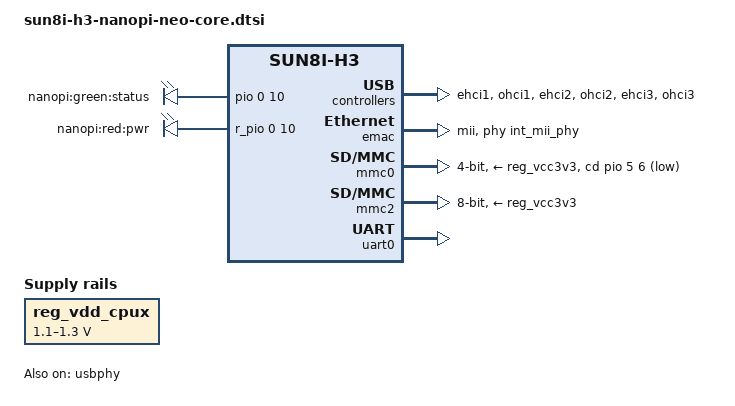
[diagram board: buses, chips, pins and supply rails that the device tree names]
/*
 * Copyright (C) 2018 Mans Rullgard <mans@mansr.com>
 *
 * This file is dual-licensed: you can use it either under the terms
 * of the GPL or the X11 license, at your option. Note that this dual
 * licensing only applies to this file, and not this project as a
 * whole.
 *
 *  a) This file is free software; you can redistribute it and/or
 *     modify it under the terms of the GNU General Public License as
 *     published by the Free Software Foundation; either version 2 of the
 *     License, or (at your option) any later version.
 *
 *     This file is distributed in the hope that it will be useful,
 *     but WITHOUT ANY WARRANTY; without even the implied warranty of
 *     MERCHANTABILITY or FITNESS FOR A PARTICULAR PURPOSE.  See the
 *     GNU General Public License for more details.
 *
 * Or, alternatively,
 *
 *  b) Permission is hereby granted, free of charge, to any person
 *     obtaining a copy of this software and associated documentation
 *     files (the "Software"), to deal in the Software without
 *     restriction, including without limitation the rights to use,
 *     copy, modify, merge, publish, distribute, sublicense, and/or
 *     sell copies of the Software, and to permit persons to whom the
 *     Software is furnished to do so, subject to the following
 *     conditions:
 *
 *     The above copyright notice and this permission notice shall be
 *     included in all copies or substantial portions of the Software.
 *
 *     THE SOFTWARE IS PROVIDED "AS IS", WITHOUT WARRANTY OF ANY KIND,
 *     EXPRESS OR IMPLIED, INCLUDING BUT NOT LIMITED TO THE WARRANTIES
 *     OF MERCHANTABILITY, FITNESS FOR A PARTICULAR PURPOSE AND
 *     NONINFRINGEMENT. IN NO EVENT SHALL THE AUTHORS OR COPYRIGHT
 *     HOLDERS BE LIABLE FOR ANY CLAIM, DAMAGES OR OTHER LIABILITY,
 *     WHETHER IN AN ACTION OF CONTRACT, TORT OR OTHERWISE, ARISING
 *     FROM, OUT OF OR IN CONNECTION WITH THE SOFTWARE OR THE USE OR
 *     OTHER DEALINGS IN THE SOFTWARE.
 */

/dts-v1/;
#include "sun8i-h3.dtsi"
#include "sunxi-common-regulators.dtsi"

#include <dt-bindings/gpio/gpio.h>

/ {
	aliases {
		serial0 = &uart0;
	};

	chosen {
		stdout-path = "serial0:115200n8";
	};

	leds {
		compatible = "gpio-leds";
		pinctrl-names = "default";
		pinctrl-0 = <&led_npi_green>, <&led_npi_red>;

		status {
			label = "nanopi:green:status";
			gpios = <&pio 0 10 GPIO_ACTIVE_HIGH>;
			linux,default-trigger = "heartbeat";
		};

		pwr {
			label = "nanopi:red:pwr";
			gpios = <&r_pio 0 10 GPIO_ACTIVE_HIGH>;
			default-state = "on";
		};
	};

	reg_vdd_cpux: regulator {
		pinctrl-names = "default";
		pinctrl-0 = <&vdd_cpux_pins>;
		compatible = "regulator-gpio";
		regulator-name = "vdd-cpux";
		regulator-type = "voltage";
		regulator-boot-on;
		regulator-always-on;
		regulator-min-microvolt = <1100000>;
		regulator-max-microvolt = <1300000>;
		regulator-ramp-delay = <50>; /* 4ms */

		gpios = <&r_pio 0 6 GPIO_ACTIVE_HIGH>; /* PL6 */
		enable-active-high;
		gpios-states = <0x1>;
		states = <1100000 0x0>,
			 <1300000 0x1>;
	};
};

&ehci1 {
	status = "okay";
};

&ohci1 {
	status = "okay";
};

&ehci2 {
	status = "okay";
};

&ohci2 {
	status = "okay";
};

&ehci3 {
	status = "okay";
};

&ohci3 {
	status = "okay";
};

&emac {
	phy-handle = <&int_mii_phy>;
	phy-mode = "mii";
	allwinner,leds-active-low;
	status = "okay";
};

&mmc0 {
	pinctrl-names = "default";
	pinctrl-0 = <&mmc0_pins_a>, <&mmc0_cd_pin>;
	vmmc-supply = <&reg_vcc3v3>;
	bus-width = <4>;
	cd-gpios = <&pio 5 6 GPIO_ACTIVE_HIGH>;
	cd-inverted;
	status = "okay";
};

&mmc2 {
	pinctrl-names = "default";
	pinctrl-0 = <&mmc2_8bit_pins>;
	vmmc-supply = <&reg_vcc3v3>;
	bus-width = <8>;
	status = "okay";
};

&pio {
	led_npi_green: led_npi_green {
		pins = "PA10";
		function = "gpio_out";
	};
};

&r_pio {
	led_npi_red: led_npi_red {
		pins = "PL10";
		function = "gpio_out";
	};

	vdd_cpux_pins: vdd_cpux {
		pins = "PL6";
		function = "gpio_out";
	};
};

&uart0 {
	pinctrl-names = "default";
	pinctrl-0 = <&uart0_pins_a>;
	status = "okay";
};

&usbphy {
	status = "okay";
};
